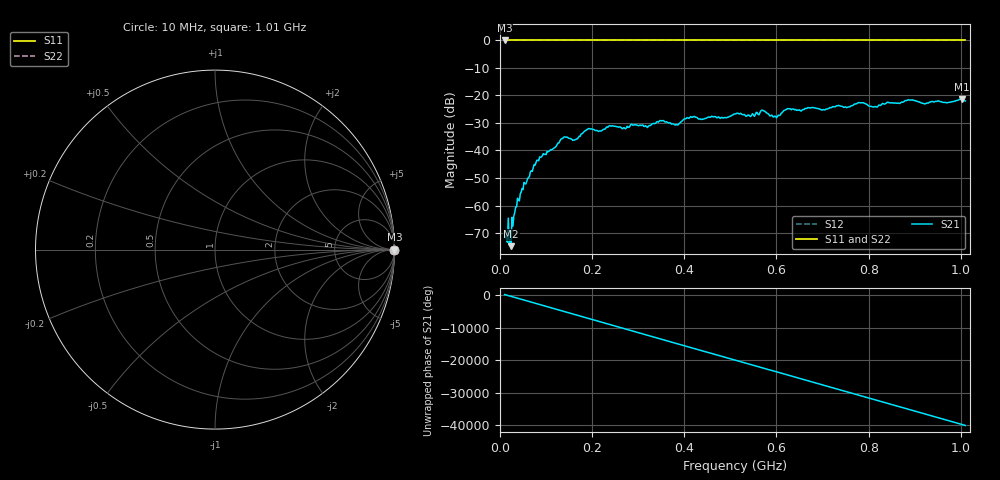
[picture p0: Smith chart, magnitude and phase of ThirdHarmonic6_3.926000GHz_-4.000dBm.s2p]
! 8/17/2025 1:51:50 PM
! C:\ANRITSUVNA\TEMP\TEMP.S2P
! CHANNEL.1
! TR.MEASUREMENT
! RAW.DATA
! RF.CORRECTION.OFF
! AVERAGING.OFF
! IF.BANDWIDTH: 5KHZ
! SWEEPTYPE:  FREQ.SWEEP(Linear)
! Reference Plane Port Info
! PORT:  PORT1  PORT2
! DISTANCE:  0  m  0  m
! TIME:  0  s  0  s
! PHASE.OFFSET:  0  deg.  0  deg.
! LOSS:  0  dB  0  dB
! REF.LOSS:  0  dB  0  dB
! REF.FREQ:  0  Hz  0  Hz
! Power Info
! POWER:  -20  dBm  -20  dBm
! EFF.POWER:  -20  dBm  -20  dBm
! SOURCE.ATTEN:  0  dB  0  dB
! TEST.ATTEN:  0  dB  0  dB
# GHZ S RI R 50.0
! FREQ.GHZ  S11RE  S11IM  S21RE  S21IM  S12RE  S12IM  S22RE  S22IM
!; PortSelection: Port_12
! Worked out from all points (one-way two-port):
!   501 points, 10 MHz to 1.01 GHz, reference 50 ohm
!   highest |S21| = -21.28 dB at 1.002 GHz (marker M1); lowest = -74.8 dB at 24 MHz (marker M2)
!   lowest |S11| = 0.0 dB at 10 MHz (marker M3)
!   |S11| at or under -10 dB: nowhere
!   |S22| runs from 0.0 to 0.0 dB; largest |S21 - S12| = 1.1
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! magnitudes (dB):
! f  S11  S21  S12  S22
! 10 MHz  0.0  -70.3  0.0  0.0
! 24 MHz  0.0  -74.8  0.0  0.0
! 30 MHz  0.0  -63.8  0.0  0.0
! 36 MHz  0.0  -60.5  0.0  0.0
! 50 MHz  0.0  -54.2  0.0  0.0
! 78 MHz  0.0  -44.4  0.0  0.0
! 136 MHz  0.0  -35.7  0.0  0.0
! 162 MHz  0.0  -36.2  0.0  0.0
! 178 MHz  0.0  -33.9  0.0  0.0
! 194 MHz  0.0  -32.1  0.0  0.0
! 322 MHz  0.0  -31.2  0.0  0.0
! 344 MHz  0.0  -29.7  0.0  0.0
! 384 MHz  0.0  -30.6  0.0  0.0
! 418 MHz  0.0  -27.9  0.0  0.0
! 510 MHz  0.0  -26.7  0.0  0.0
! 570 MHz  0.0  -25.4  0.0  0.0
! 598 MHz  0.0  -27.6  0.0  0.0
! 624 MHz  0.0  -24.8  0.0  0.0
! 678 MHz  0.0  -24.4  0.0  0.0
! 844 MHz  0.0  -22.6  0.0  0.0
! 1.002 GHz  0.0  -21.3  0.0  0.0
! 1.01 GHz  0.0  -22.0  0.0  0.0
